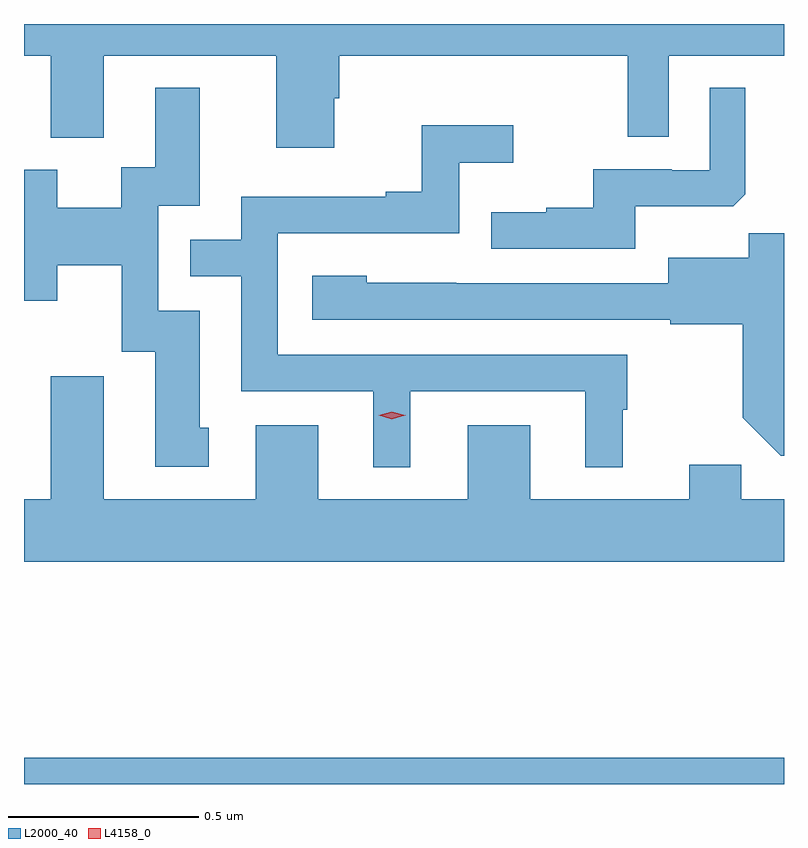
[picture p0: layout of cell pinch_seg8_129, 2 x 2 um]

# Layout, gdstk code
import gdstk
lib = gdstk.Library(unit=1e-6, precision=1e-09)
def R(c, l, rs):  # rectangles x0, y0, x1, y1
    for r in rs: c.add(gdstk.rectangle(r[:2], r[2:], *l))
def P(c, l, *ps):  # polygons
    for p in ps: c.add(gdstk.Polygon(p, *l))
L2000_40 = (2000, 40)
L4158_0 = (4158, 0)

pinch_seg8_129 = lib.new_cell('pinch_seg8_129')
R(pinch_seg8_129, L2000_40, [(797.671,1123.907,799.671,1123.976)])
P(pinch_seg8_129, L2000_40, [(798.487,1125.711),(798.5,1125.711),(798.5,1125.824),(799.26,1125.824),(799.26,1125.61),(799.368,1125.61),(799.368,1125.824),(799.671,1125.824),(799.671,1125.907),(797.671,1125.907),(797.671,1125.824),(797.741,1125.824),(797.741,1125.608),(797.881,1125.608),(797.881,1125.824),(798.335,1125.824),(798.335,1125.582),(798.487,1125.582)],
  [(799.279,1125.428),(799.537,1125.428),(799.569,1125.459),(799.569,1125.739),(799.476,1125.739),(799.476,1125.522),(799.376,1125.522),(799.376,1125.525),(799.169,1125.525),(799.169,1125.424),(799.045,1125.424),(799.045,1125.412),(798.901,1125.412),(798.901,1125.315),(799.279,1125.315)],
  [(798.157,1124.844),(798.133,1124.844),(798.133,1125.153),(798.024,1125.153),(798.024,1125.429),(798.133,1125.429),(798.133,1125.739),(798.017,1125.739),(798.017,1125.53),(797.927,1125.53),(797.927,1125.424),(797.758,1125.424),(797.758,1125.523),(797.671,1125.523),(797.671,1125.179),(797.758,1125.179),(797.758,1125.272),(797.928,1125.272),(797.928,1125.045),(798.017,1125.045),(798.017,1124.742),(798.157,1124.742)],
  [(798.688,1124.94),(799.148,1124.94),(799.148,1124.741),(799.246,1124.741),(799.246,1124.892),(799.258,1124.892),(799.258,1125.036),(798.339,1125.036),(798.339,1125.357),(798.816,1125.357),(798.816,1125.542),(798.958,1125.542),(798.958,1125.641),(798.718,1125.641),(798.718,1125.466),(798.623,1125.466),(798.623,1125.453),(798.243,1125.453),(798.243,1125.339),(798.109,1125.339),(798.109,1125.243),(798.243,1125.243),(798.243,1124.94),(798.59,1124.94),(798.59,1124.741),(798.688,1124.741)],
  [(799.671,1125.356),(799.578,1125.356),(799.578,1125.292),(799.367,1125.292),(799.367,1125.225),(798.809,1125.225),(798.809,1125.226),(798.573,1125.226),(798.573,1125.244),(798.429,1125.244),(798.429,1125.129),(799.371,1125.129),(799.371,1125.117),(799.563,1125.117),(799.563,1124.871),(799.663,1124.771),(799.671,1124.771)],
  [(799.671,1124.656),(799.559,1124.656),(799.559,1124.747),(799.421,1124.747),(799.421,1124.656),(799.003,1124.656),(799.003,1124.851),(798.839,1124.851),(798.839,1124.656),(798.445,1124.656),(798.445,1124.851),(798.281,1124.851),(798.281,1124.656),(797.881,1124.656),(797.881,1124.98),(797.741,1124.98),(797.741,1124.656),(797.671,1124.656),(797.671,1124.492),(799.671,1124.492)])
P(pinch_seg8_129, L4158_0, [(798.639,1124.867),(798.604,1124.877),(798.603,1124.877),(798.604,1124.877),(798.639,1124.887),(798.674,1124.877),(798.675,1124.877),(798.674,1124.877)])

lib.write_gds('pinch_seg8_129.gds')
